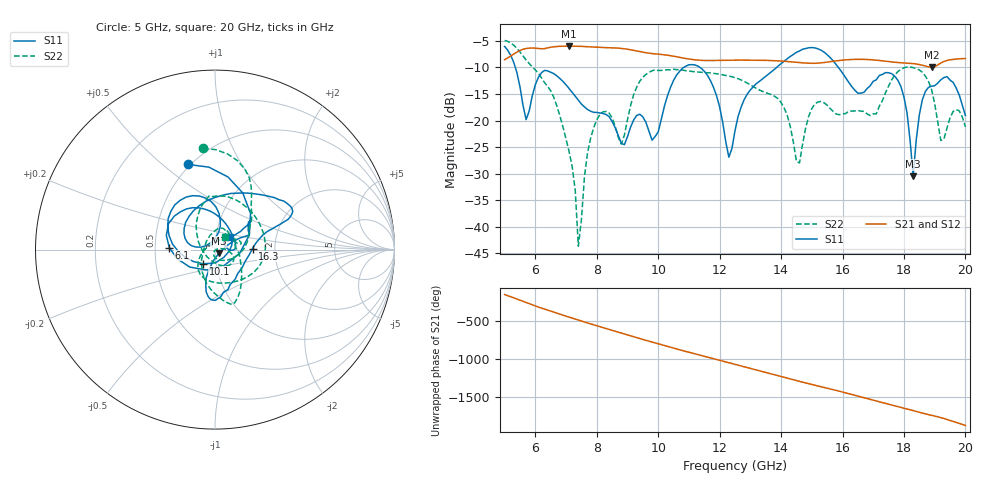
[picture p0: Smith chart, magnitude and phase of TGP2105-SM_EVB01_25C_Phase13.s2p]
! Date: Wednesday, June 05, 2013  1:50 PM
! Filename: C:\Data\Mike_Arnold\TGP2105-SM\Over_Temp\TGP2105-SM_EVB01_25C_Phase13.s2p
! Comments:
!^VDC(V):5.000
!^VDC(mA):0.125
!%Freq(GHz),S11(dB),S11(ang),S21(dB),S21(ang),S12(dB),S12(ang),S22(dB),S22(ang)
# GHz  S  DB  R  50
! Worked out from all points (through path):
!   151 points, 5 GHz to 20 GHz, reference 50 ohm
!   highest |S21| = -5.99 dB at 7.1 GHz (marker M1); lowest = -10.0 dB at 18.9 GHz (marker M2)
!   lowest |S11| = -30.5 dB at 18.3 GHz (marker M3), VSWR 1.06, Z = 52.1 - j2.2 ohm
!   |S11| at or under -10 dB: 5.349 GHz to 10.83 GHz (5.479 GHz wide, 67.7 % of centre); 11.36 GHz to 13.85 GHz (2.495 GHz wide, 19.8 % of centre); 15.87 GHz to end of sweep
!   |S22| runs from -43.7 to -4.9 dB; largest |S21 - S12| = 0.0021
!   S11 on the Smith chart (normalised r, x): 5 GHz: 0.48, +0.61; 6.1 GHz: 0.59, +0.01; 10.1 GHz: 0.87, -0.14; 16.3 GHz: 1.53, +0.02; 20 GHz: 1.17, +0.17
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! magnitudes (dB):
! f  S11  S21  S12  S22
! 5 GHz  -6.0  -8.5  -8.5  -4.9
! 5.7 GHz  -19.8  -6.4  -6.4  -8.6
! 6.1 GHz  -11.9  -6.4  -6.4  -11.1
! 7.1 GHz  -14.0  -6.0  -6.0  -25.9
! 7.4 GHz  -16.2  -6.0  -6.0  -43.7
! 7.5 GHz  -16.9  -6.0  -6.1  -38.7
! 8 GHz  -18.5  -6.2  -6.2  -19.9
! 8.8 GHz  -24.3  -6.4  -6.4  -24.4
! 10 GHz  -22.2  -7.5  -7.5  -10.6
! 10.1 GHz  -19.8  -7.5  -7.6  -10.6
! 11.2 GHz  -9.5  -8.6  -8.6  -10.8
! 12.3 GHz  -26.9  -8.6  -8.6  -11.6
! 12.5 GHz  -21.9  -8.6  -8.6  -11.9
! 14.6 GHz  -6.9  -9.1  -9.1  -28.0
! 15 GHz  -6.3  -9.2  -9.2  -17.8
! 16.3 GHz  -13.6  -8.5  -8.5  -18.2
! 17.5 GHz  -11.0  -8.9  -8.9  -13.5
! 18 GHz  -15.6  -9.2  -9.2  -10.1
! 18.3 GHz  -30.5  -9.3  -9.3  -10.0
! 18.9 GHz  -13.5  -10.0  -10.0  -14.2
! 19.2 GHz  -12.3  -9.2  -9.2  -23.8
! 20 GHz  -19.0  -8.3  -8.4  -21.2
